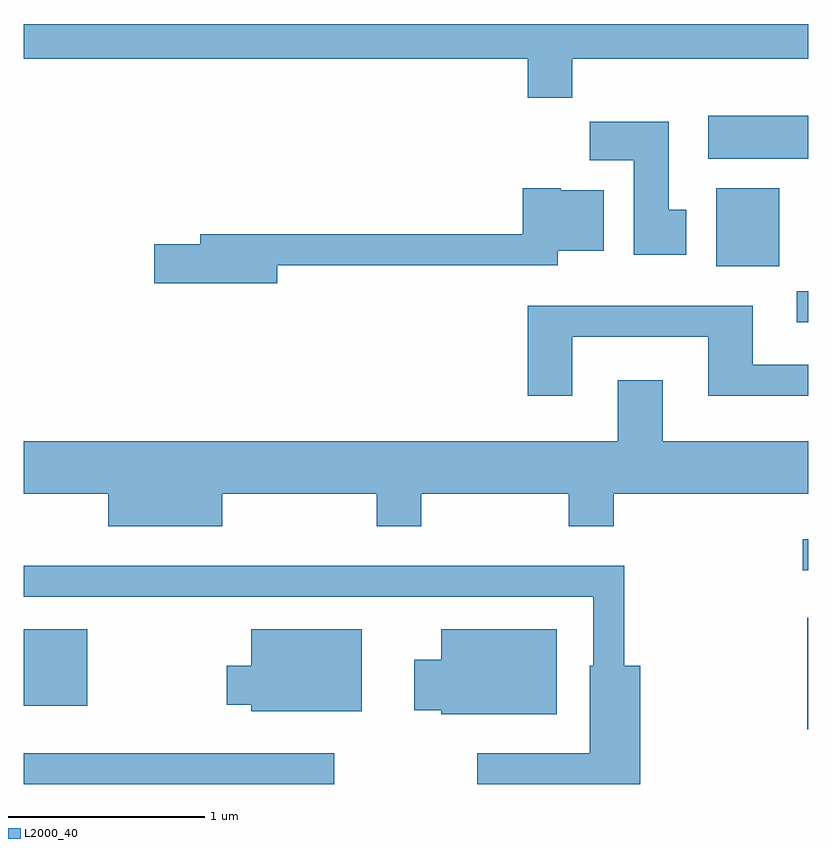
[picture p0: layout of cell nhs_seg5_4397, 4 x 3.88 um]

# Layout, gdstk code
import gdstk
lib = gdstk.Library(unit=1e-6, precision=1e-09)
def R(c, l, rs):  # rectangles x0, y0, x1, y1
    for r in rs: c.add(gdstk.rectangle(r[:2], r[2:], *l))
def P(c, l, *ps):  # polygons
    for p in ps: c.add(gdstk.Polygon(p, *l))
L2000_40 = (2000, 40)

nhs_seg5_4397 = lib.new_cell('nhs_seg5_4397')
R(nhs_seg5_4397, L2000_40, [(315.611,1464.196,317.193,1464.354), (319.606,1464.476,319.611,1465.044), (315.611,1464.596,315.934,1464.984), (319.583,1465.286,319.611,1465.444), (319.553,1466.551,319.611,1466.709), (319.141,1466.836,319.464,1467.234), (319.101,1467.386,319.611,1467.604)])
P(nhs_seg5_4397, L2000_40, [(318.409,1467.896),(319.611,1467.896),(319.611,1468.072),(315.611,1468.072),(315.611,1467.896),(318.181,1467.896),(318.181,1467.696),(318.409,1467.696)],
  [(318.989,1467.124),(318.899,1467.124),(318.899,1467.574),(318.496,1467.574),(318.496,1467.376),(318.721,1467.376),(318.721,1466.896),(318.989,1466.896)],
  [(316.904,1466.841),(318.334,1466.841),(318.334,1466.916),(318.569,1466.916),(318.569,1467.224),(318.35,1467.224),(318.35,1467.234),(318.156,1467.234),(318.156,1466.999),(316.511,1466.999),(316.511,1466.949),(316.276,1466.949),(316.276,1466.751),(316.904,1466.751)],
  [(318.409,1466.476),(319.101,1466.476),(319.101,1466.176),(319.611,1466.176),(319.611,1466.334),(319.329,1466.334),(319.329,1466.634),(318.181,1466.634),(318.181,1466.176),(318.409,1466.176)],
  [(315.611,1465.676),(316.041,1465.676),(316.041,1465.511),(316.624,1465.511),(316.624,1465.676),(317.411,1465.676),(317.411,1465.511),(317.639,1465.511),(317.639,1465.676),(318.391,1465.676),(318.391,1465.511),(318.619,1465.511),(318.619,1465.676),(319.611,1465.676),(319.611,1465.944),(318.869,1465.944),(318.869,1466.254),(318.641,1466.254),(318.641,1465.944),(315.611,1465.944)],
  [(318.754,1464.799),(318.674,1464.799),(318.674,1465.309),(315.611,1465.309),(315.611,1465.151),(318.516,1465.151),(318.516,1464.799),(318.496,1464.799),(318.496,1464.354),(317.923,1464.354),(317.923,1464.196),(318.754,1464.196)],
  [(318.329,1464.984),(317.741,1464.984),(317.741,1464.829),(317.601,1464.829),(317.601,1464.571),(317.741,1464.571),(317.741,1464.551),(318.329,1464.551)],
  [(317.334,1464.984),(316.771,1464.984),(316.771,1464.799),(316.646,1464.799),(316.646,1464.601),(316.771,1464.601),(316.771,1464.566),(317.334,1464.566)])

lib.write_gds('nhs_seg5_4397.gds')
